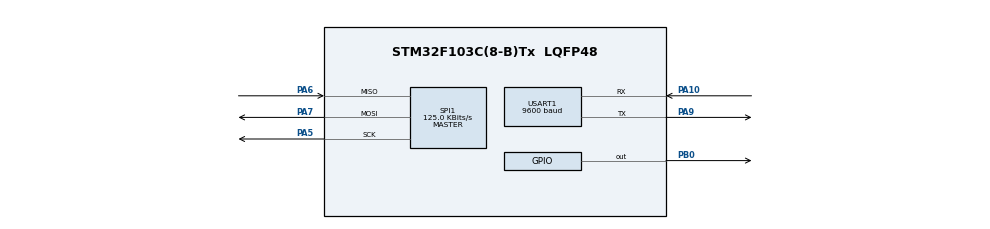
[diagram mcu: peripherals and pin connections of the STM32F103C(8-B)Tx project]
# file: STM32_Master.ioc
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Mcu.Family=STM32F1
Mcu.Name=STM32F103C(8-B)Tx
Mcu.Package=LQFP48
NVIC.PriorityGroup=NVIC_PRIORITYGROUP_4
PA10.Mode=Asynchronous
PA10.Signal=USART1_RX
PA5.Mode=Full_Duplex_Master
PA5.Signal=SPI1_SCK
PA6.Mode=Full_Duplex_Master
PA6.Signal=SPI1_MISO
PA7.Mode=Full_Duplex_Master
PA7.Signal=SPI1_MOSI
PA9.Mode=Asynchronous
PA9.Signal=USART1_TX
PB0.Signal=GPIO_Output
ProjectManager.HeapSize=0x200
ProjectManager.StackSize=0x400
ProjectManager.TargetToolchain=STM32CubeIDE
RCC.APB1Freq_Value=8000000
RCC.APB2Freq_Value=8000000
SPI1.BaudRatePrescaler=SPI_BAUDRATEPRESCALER_64
SPI1.CalculateBaudRate=125.0 KBits/s
SPI1.Direction=SPI_DIRECTION_2LINES
SPI1.Mode=SPI_MODE_MASTER
SPI1.VirtualType=VM_MASTER
USART1.BaudRate=9600
USART1.VirtualMode=VM_ASYNC
VP_SYS_VS_ND.Mode=No_Debug
board=custom

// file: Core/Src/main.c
/* USER CODE BEGIN Header */
/**
  ******************************************************************************
  * @file           : main.c
  * @brief          : Main program body
  ******************************************************************************
  * @attention
  *
  * Copyright (c) 2026 STMicroelectronics.
  * All rights reserved.
  *
  * This software is licensed under terms that can be found in the LICENSE file
  * in the root directory of this software component.
  * If no LICENSE file comes with this software, it is provided AS-IS.
  *
  ******************************************************************************
  */
/* USER CODE END Header */
#include "main.h"
#include <stdio.h>

SPI_HandleTypeDef hspi1;

UART_HandleTypeDef huart1;

void SystemClock_Config(void);
static void MX_GPIO_Init(void);
static void MX_SPI1_Init(void);
static void MX_USART1_UART_Init(void);

int main(void)
{

  /* MCU Configuration--------------------------------------------------------*/

  /* Reset of all peripherals, Initializes the Flash interface and the Systick. */
  HAL_Init();

  /* Configure the system clock */
  SystemClock_Config();

  /* Initialize all configured peripherals */
  MX_GPIO_Init();
  MX_SPI1_Init();
  MX_USART1_UART_Init();
  /* USER CODE BEGIN 2 */

  	// check communication
//  uint8_t txByte = 0x5A;
//  uint8_t dummyRx;

  uint8_t rxChar;  // user input char
  uint8_t caseId; // convert recieved char to number
  uint16_t requestId; // requested case id
  uint8_t requestBytes[2]; // split the 16 bit request into 2 bytes
  uint8_t dummyRx[2]; // dummy buffer

  uint8_t dummyTx[3] = {0}; // dummy bytes for 2nd recieve
  uint8_t responseBytes[3];	// response buffer
  uint32_t packedData; // construct response bytes

  uint16_t voltageRaw;
  uint16_t speedRaw;

  uint16_t voltageTenth;
  uint16_t speed;

  // uart message
  char message[100];
  int msg;

  HAL_GPIO_WritePin(GPIOB, GPIO_PIN_0, GPIO_PIN_SET);

  /* USER CODE END 2 */

  /* Infinite loop */
  while (1)
  {

    /* USER CODE BEGIN 3 */

	  HAL_UART_Receive(
	      &huart1,
	      &rxChar,
	      1,
		  HAL_MAX_DELAY
	  );

	  caseId = rxChar - '0';

	  if (caseId >= 1 && caseId <= 5){

		  requestId = 0x1000 + caseId;
		  requestBytes[0] = (requestId >> 8) & 0xFF;
		  requestBytes[1] = requestId & 0xFF;

		  HAL_GPIO_WritePin(GPIOB, GPIO_PIN_0, GPIO_PIN_RESET); // reset to start exchange

		  HAL_SPI_TransmitReceive(
		      &hspi1,
			  requestBytes,
		      dummyRx,
		      2,
			  HAL_MAX_DELAY
		  );

		  HAL_GPIO_WritePin(GPIOB, GPIO_PIN_0, GPIO_PIN_SET);

		  HAL_Delay(100);

		  HAL_GPIO_WritePin(GPIOB, GPIO_PIN_0, GPIO_PIN_RESET); // reset to start 2nd exchange

		  HAL_SPI_TransmitReceive(
				  &hspi1,
				  dummyTx,
				  responseBytes,
				  3,
				  HAL_MAX_DELAY
		  );

		  HAL_GPIO_WritePin(GPIOB, GPIO_PIN_0, GPIO_PIN_SET);

		  packedData = (responseBytes[0] << 16) | (responseBytes[1] << 8) | responseBytes[2];

		  voltageRaw = packedData >> 12;
		  speedRaw = packedData & 0xFFF;

		  ///////////
		  voltageTenth = (uint16_t)(((float)voltageRaw * 240.0f / 4095.0f) + 0.5f);
		  speed = (uint16_t)(((float)speedRaw * 300.0f / 4095.0f) + 0.5f);
		  ///////////

		  msg = snprintf(
		      message,
		      sizeof(message),
		      "Voltage = %u.%u V | Wheel Speed = %u km/h\r\n",
		      voltageTenth / 10,
		      voltageTenth % 10,
		      speed
		  );

		  HAL_UART_Transmit(
		      &huart1,
		      (uint8_t *)message,
		      msg,
		      HAL_MAX_DELAY
		  );

	  }

  }
  /* USER CODE END 3 */
}

void SystemClock_Config(void)
{
  RCC_OscInitTypeDef RCC_OscInitStruct = {0};
  RCC_ClkInitTypeDef RCC_ClkInitStruct = {0};

  /** Initializes the RCC Oscillators according to the specified parameters
  * in the RCC_OscInitTypeDef structure.
  */
  RCC_OscInitStruct.OscillatorType = RCC_OSCILLATORTYPE_HSI;
  RCC_OscInitStruct.HSIState = RCC_HSI_ON;
  RCC_OscInitStruct.HSICalibrationValue = RCC_HSICALIBRATION_DEFAULT;
  RCC_OscInitStruct.PLL.PLLState = RCC_PLL_NONE;
  if (HAL_RCC_OscConfig(&RCC_OscInitStruct) != HAL_OK)
  {
    Error_Handler();
  }

  /** Initializes the CPU, AHB and APB buses clocks
  */
  RCC_ClkInitStruct.ClockType = RCC_CLOCKTYPE_HCLK|RCC_CLOCKTYPE_SYSCLK
                              |RCC_CLOCKTYPE_PCLK1|RCC_CLOCKTYPE_PCLK2;
  RCC_ClkInitStruct.SYSCLKSource = RCC_SYSCLKSOURCE_HSI;
  RCC_ClkInitStruct.AHBCLKDivider = RCC_SYSCLK_DIV1;
  RCC_ClkInitStruct.APB1CLKDivider = RCC_HCLK_DIV1;
  RCC_ClkInitStruct.APB2CLKDivider = RCC_HCLK_DIV1;

  if (HAL_RCC_ClockConfig(&RCC_ClkInitStruct, FLASH_LATENCY_0) != HAL_OK)
  {
    Error_Handler();
  }
}

static void MX_SPI1_Init(void)
{

  /* SPI1 parameter configuration*/
  hspi1.Instance = SPI1;
  hspi1.Init.Mode = SPI_MODE_MASTER;
  hspi1.Init.Direction = SPI_DIRECTION_2LINES;
  hspi1.Init.DataSize = SPI_DATASIZE_8BIT;
  hspi1.Init.CLKPolarity = SPI_POLARITY_LOW;
  hspi1.Init.CLKPhase = SPI_PHASE_1EDGE;
  hspi1.Init.NSS = SPI_NSS_SOFT;
  hspi1.Init.BaudRatePrescaler = SPI_BAUDRATEPRESCALER_64;
  hspi1.Init.FirstBit = SPI_FIRSTBIT_MSB;
  hspi1.Init.TIMode = SPI_TIMODE_DISABLE;
  hspi1.Init.CRCCalculation = SPI_CRCCALCULATION_DISABLE;
  hspi1.Init.CRCPolynomial = 10;
  if (HAL_SPI_Init(&hspi1) != HAL_OK)
  {
    Error_Handler();
  }

}

static void MX_USART1_UART_Init(void)
{

  huart1.Instance = USART1;
  huart1.Init.BaudRate = 9600;
  huart1.Init.WordLength = UART_WORDLENGTH_8B;
  huart1.Init.StopBits = UART_STOPBITS_1;
  huart1.Init.Parity = UART_PARITY_NONE;
  huart1.Init.Mode = UART_MODE_TX_RX;
  huart1.Init.HwFlowCtl = UART_HWCONTROL_NONE;
  huart1.Init.OverSampling = UART_OVERSAMPLING_16;
  if (HAL_UART_Init(&huart1) != HAL_OK)
  {
    Error_Handler();
  }

}

static void MX_GPIO_Init(void)
{
  GPIO_InitTypeDef GPIO_InitStruct = {0};

  /* GPIO Ports Clock Enable */
  __HAL_RCC_GPIOA_CLK_ENABLE();
  __HAL_RCC_GPIOB_CLK_ENABLE();

  /*Configure GPIO pin Output Level */
  HAL_GPIO_WritePin(GPIOB, GPIO_PIN_0, GPIO_PIN_RESET);

  /*Configure GPIO pin : PB0 */
  GPIO_InitStruct.Pin = GPIO_PIN_0;
  GPIO_InitStruct.Mode = GPIO_MODE_OUTPUT_PP;
  GPIO_InitStruct.Pull = GPIO_NOPULL;
  GPIO_InitStruct.Speed = GPIO_SPEED_FREQ_LOW;
  HAL_GPIO_Init(GPIOB, &GPIO_InitStruct);

}

void Error_Handler(void)
{
  __disable_irq();
  while (1)
  {
  }
}
